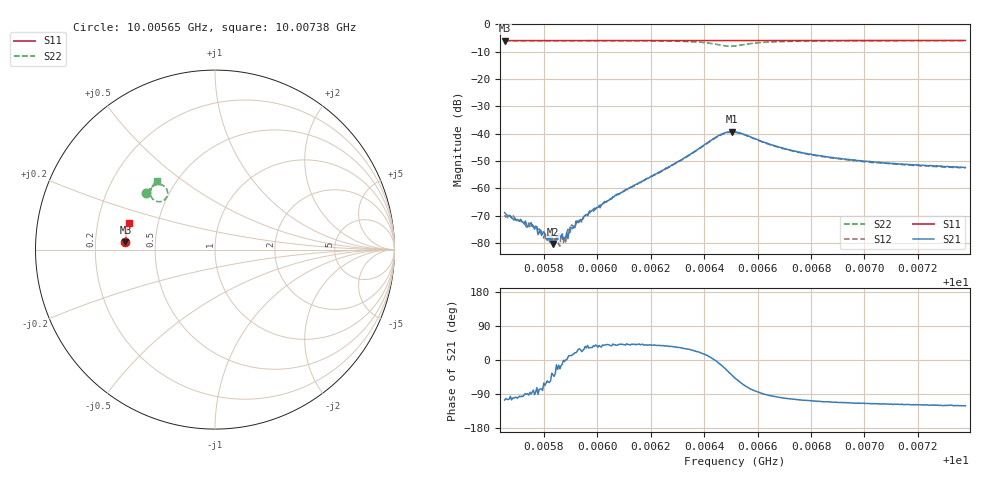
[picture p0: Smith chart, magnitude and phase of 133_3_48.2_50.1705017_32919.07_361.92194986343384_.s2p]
#  HZ  S  RI  R  50.00
! Rohde & Schwarz Vector Network Analyzer
! Rohde-Schwarz,ZNB20-2Port,1311601062101988,3.16
! Created: UTC 3/20/2024, 11:42:00 AM
! freq[Hz]  re:S11  im:S11  re:S21  im:S21  re:S12  im:S12  re:S22  im:S22
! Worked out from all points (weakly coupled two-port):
!   401 points, 10.00565 GHz to 10.00738 GHz, reference 50 ohm
!   highest |S21| = -39.25 dB at 10.0065 GHz (marker M1); lowest = -80.2 dB at 10.00584 GHz (marker M2)
!   lowest |S11| = -6.0 dB at 10.00565 GHz (marker M3), VSWR 3.01, Z = 16.7 + j1.79 ohm
!   |S11| at or under -10 dB: nowhere
!   |S22| runs from -8.1 to -6.0 dB; largest |S21 - S12| = 0.00067
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1.0005655e10  -0.4993 0.0403  -9.73e-05 -0.00035  -4.31e-05 -0.000322  -0.3833 0.3168
1.000568e10  -0.4992 0.0421  -7.71e-05 -0.000283  -1.54e-05 -0.000288  -0.3821 0.3181
1.0005741e10  -0.499 0.0458  4.23e-06 -0.000199  7.14e-06 -0.0002  -0.3792 0.3219
1.0005762e10  -0.4991 0.0473  3.84e-05 -0.000208  2.09e-05 -0.000193  -0.3781 0.3233
1.0005788e10  -0.4986 0.0488  4.15e-05 -0.00017  5.24e-05 -0.000135  -0.3768 0.3248
1.0005805e10  -0.4988 0.0499  5.76e-05 -0.000137  6.63e-05 -0.000139  -0.3759 0.326
1.0005835e10  -0.4987 0.052  7.58e-05 -6.12e-05  6.95e-05 -7.89e-05  -0.3743 0.3278
1.0005853e10  -0.4985 0.0532  0.000105 -4.88e-05  0.000106 -4.67e-05  -0.3733 0.3289
1.0005878e10  -0.4985 0.0547  0.000124 -9.56e-06  0.000136 9.91e-06  -0.3718 0.3306
1.0005883e10  -0.4983 0.0552  0.000131 1.65e-06  9.86e-05 1.2e-05  -0.3717 0.3309
1.00059e10  -0.4982 0.0562  0.000193 4.02e-05  0.000155 4.56e-05  -0.3706 0.332
1.0005943e10  -0.498 0.059  0.000243 9.83e-05  0.0002 0.000135  -0.368 0.3351
1.0005982e10  -0.4977 0.0614  0.000335 0.000216  0.000301 0.000242  -0.3653 0.3375
1.0006055e10  -0.4972 0.0662  0.000513 0.000397  0.000486 0.000458  -0.3601 0.3427
1.0006232e10  -0.496 0.0777  0.00155 0.00125  0.00144 0.00127  -0.3411 0.3565
1.0006451e10  -0.4931 0.0917  0.00898 -0.000954  0.00883 -0.000494  -0.2662 0.3295
1.0006503e10  -0.4926 0.0943  0.00847 -0.00687  0.00862 -0.00629  -0.2822 0.2769
1.0006516e10  -0.4925 0.095  0.00726 -0.00799  0.00756 -0.00738  -0.2952 0.2696
1.000668e10  -0.4915 0.1055  -0.000849 -0.00564  -0.000557 -0.0056  -0.3602 0.3175
1.0006804e10  -0.4901 0.1136  -0.00128 -0.00393  -0.00108 -0.00395  -0.3551 0.3405
1.0007093e10  -0.4864 0.1319  -0.0013 -0.00258  -0.00115 -0.00259  -0.3385 0.3664
1.0007377e10  -0.4818 0.1497  -0.00124 -0.00209  -0.00113 -0.00209  -0.3232 0.3831
